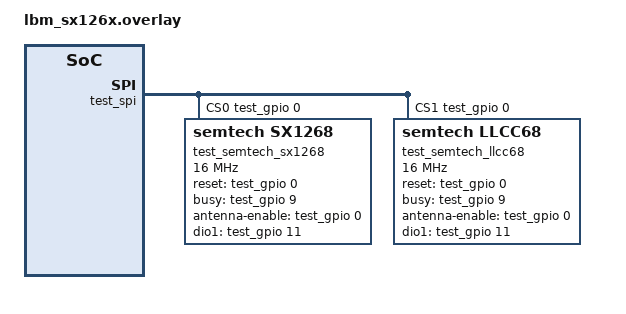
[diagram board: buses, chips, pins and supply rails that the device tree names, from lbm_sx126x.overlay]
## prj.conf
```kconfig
CONFIG_TEST=y
CONFIG_LORA=y
```

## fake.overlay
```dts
/*
 * Copyright (c) 2026 Embeint Inc
 *
 * SPDX-License-Identifier: Apache-2.0
 */

/ {
	fake_lora: lora {
		compatible = "zephyr,fake-lora";
		status = "okay";
	};
};
```

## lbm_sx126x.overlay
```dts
/*
 * Copyright (c) 2025 MASSDRIVER EI (massdriver.space)
 * SPDX-License-Identifier: Apache-2.0
 */

/ {
	test {
		#address-cells = <1>;
		#size-cells = <1>;

		test_gpio: gpio@deadbeef {
			compatible = "vnd,gpio";
			gpio-controller;
			reg = <0xdeadbeef 0x1000>;
			#gpio-cells = <0x2>;
			status = "okay";
		};

		test_spi: spi@33334444 {
			#address-cells = <1>;
			#size-cells = <0>;
			compatible = "vnd,spi";
			reg = <0x33334444 0x1000>;
			status = "okay";

			cs-gpios = <&test_gpio 0 0>,
				   <&test_gpio 0 0>,
				   <&test_gpio 0 0>;

			test_semtech_sx1268: sx1268@0 {
				compatible = "semtech,sx1268";
				status = "okay";
				reg = <0>;
				spi-max-frequency = <16000000>;
				reset-gpios = <&test_gpio 0 0>;
				busy-gpios = <&test_gpio 9 0>;
				antenna-enable-gpios = <&test_gpio 0 0>;
				dio1-gpios = <&test_gpio 11 0>;
				dio2-tx-enable;
				tcxo-power-startup-delay-ms = <5>;
				force-ldro;
			};

			test_semtech_llcc68: llcc68@1 {
				compatible = "semtech,llcc68";
				status = "okay";
				reg = <1>;
				spi-max-frequency = <16000000>;
				reset-gpios = <&test_gpio 0 0>;
				busy-gpios = <&test_gpio 9 0>;
				antenna-enable-gpios = <&test_gpio 0 0>;
				dio1-gpios = <&test_gpio 11 0>;
				dio2-tx-enable;
				tcxo-power-startup-delay-ms = <5>;
				force-ldro;
			};
		};
	};
};
```

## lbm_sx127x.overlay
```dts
/*
 * Copyright (c) 2025 MASSDRIVER EI (massdriver.space)
 * SPDX-License-Identifier: Apache-2.0
 */

/ {
	test {
		#address-cells = <1>;
		#size-cells = <1>;

		test_gpio: gpio@deadbeef {
			compatible = "vnd,gpio";
			gpio-controller;
			reg = <0xdeadbeef 0x1000>;
			#gpio-cells = <0x2>;
			status = "okay";
		};

		test_spi: spi@33334444 {
			#address-cells = <1>;
			#size-cells = <0>;
			compatible = "vnd,spi";
			reg = <0x33334444 0x1000>;
			status = "okay";

			cs-gpios = <&test_gpio 0 0>,
				   <&test_gpio 0 0>,
				   <&test_gpio 0 0>;

			test_semtech_sx1278: sx1278@0 {
				compatible = "semtech,sx1278";
				status = "okay";
				reg = <0x0>;
				spi-max-frequency = <3000000>;
				reset-gpios = <&test_gpio 0 0>;
				dio-gpios = <&test_gpio 0 0>,
					    <&test_gpio 0 0>,
					    <&test_gpio 0 0>,
					    <&test_gpio 0 0>;
				power-amplifier-output = "pa-boost";
				force-ldro;
			};
		};
	};
};
```

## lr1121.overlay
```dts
/*
 * Copyright (c) 2026 MASSDRIVER EI (massdriver.space)
 * SPDX-License-Identifier: Apache-2.0
 */

/ {
	test {
		#address-cells = <1>;
		#size-cells = <1>;

		test_gpio: gpio@deadbeef {
			compatible = "vnd,gpio";
			reg = <0xdeadbeef 0x1000>;
			gpio-controller;
			#gpio-cells = <0x2>;
			status = "okay";
		};

		test_spi: spi@33334444 {
			compatible = "vnd,spi";
			reg = <0x33334444 0x1000>;
			#address-cells = <1>;
			#size-cells = <0>;

			cs-gpios = <&test_gpio 0 0>,
				   <&test_gpio 0 0>,
				   <&test_gpio 0 0>;
			status = "okay";

			test_semtech_lr1121: lr1121@0 {
				compatible = "semtech,lr1121";
				reg = <0>;
				spi-max-frequency = <1000000>;
				reset-gpios = <&test_gpio 0 GPIO_ACTIVE_LOW>;
				busy-gpios = <&test_gpio 3 GPIO_ACTIVE_HIGH>;
				irq-gpios = <&test_gpio 1 (GPIO_PULL_DOWN | GPIO_ACTIVE_HIGH)>;
				lf-clk = "RC";
				rfsw-enable = <0x07>;
				rfsw-standby = <0x00>;
				rfsw-rx = <0x02>;
				rfsw-tx = <0x03>;
				rfsw-tx-hp = <0x01>;
				rfsw-tx-hf = <0x00>;
				rfsw-gnss = <0x04>;
				rfsw-wifi = <0x00>;
				tcxo-voltage = <1800>;
				use-dcdc;
				rx-boosted;
				status = "okay";
			};
		};
	};
};
```

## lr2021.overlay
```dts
/*
 * Copyright (c) 2026 MASSDRIVER EI (massdriver.space)
 * SPDX-License-Identifier: Apache-2.0
 */

/ {
	test {
		#address-cells = <1>;
		#size-cells = <1>;

		test_spi: spi@33334444 {
			compatible = "vnd,spi";
			reg = <0x33334444 0x1000>;
			#address-cells = <1>;
			#size-cells = <0>;

			cs-gpios = <&test_gpio 0 0>,
				   <&test_gpio 0 0>,
				   <&test_gpio 0 0>;
			status = "okay";

			test_semtech_lr2021: lr2021@0 {
				compatible = "semtech,lr2021";
				reg = <0>;
				spi-max-frequency = <1000000>;
				reset-gpios = <&test_gpio 0 GPIO_ACTIVE_LOW>;
				busy-gpios = <&test_gpio 3 GPIO_ACTIVE_HIGH>;
				irq-gpios = <&test_gpio 1 (GPIO_PULL_DOWN | GPIO_ACTIVE_HIGH)>;
				dio-functions = "NONE", "NONE", "NONE", "NONE", "IRQ", "NONE",
						"NONE";
				dio-sleep-pulls = "UP", "NONE", "NONE", "NONE", "DOWN", "NONE",
						  "NONE";
				tcxo-voltage = <2200>;
				use-simo;
				rx-boosted;
				status = "okay";
			};
		};

		test_gpio: gpio@deadbeef {
			compatible = "vnd,gpio";
			reg = <0xdeadbeef 0x1000>;
			gpio-controller;
			#gpio-cells = <0x2>;
			status = "okay";
		};
	};
};
```

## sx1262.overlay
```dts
/*
 * Copyright (c) 2024 TOKITA Hiroshi
 * SPDX-License-Identifier: Apache-2.0
 */

/ {
	aliases {
		lora0 = &test_semtech_sx1262;
	};

	test {
		#address-cells = <1>;
		#size-cells = <1>;

		test_gpio: gpio@deadbeef {
			compatible = "vnd,gpio";
			reg = <0xdeadbeef 0x1000>;
			gpio-controller;
			#gpio-cells = <0x2>;
			status = "okay";
		};

		test_spi: spi@33334444 {
			compatible = "vnd,spi";
			reg = <0x33334444 0x1000>;
			#address-cells = <1>;
			#size-cells = <0>;

			cs-gpios = <&test_gpio 0 0>,
				   <&test_gpio 0 0>,
				   <&test_gpio 0 0>;
			status = "okay";

			test_semtech_sx1262: sx1262@0 {
				compatible = "semtech,sx1262";
				reg = <0>;
				spi-max-frequency = <16000000>;
				reset-gpios = <&test_gpio 0 0>;
				busy-gpios = <&test_gpio 9 0>;
				antenna-enable-gpios = <&test_gpio 0 0>;
				dio1-gpios = <&test_gpio 11 0>;
				dio2-tx-enable;
				tcxo-power-startup-delay-ms = <5>;
				status = "okay";
			};
		};
	};
};
```

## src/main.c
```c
/*
 * Copyright (c) 2024 David Ullmann
 *
 * SPDX-License-Identifier: Apache-2.0
 */

#ifdef CONFIG_LORA_FAKE
#include <zephyr/drivers/lora/lora_fake.h>
DEFINE_FFF_GLOBALS;
#endif /* CONFIG_LORA_FAKE */

int main(void)
{
	return 0;
}
```
